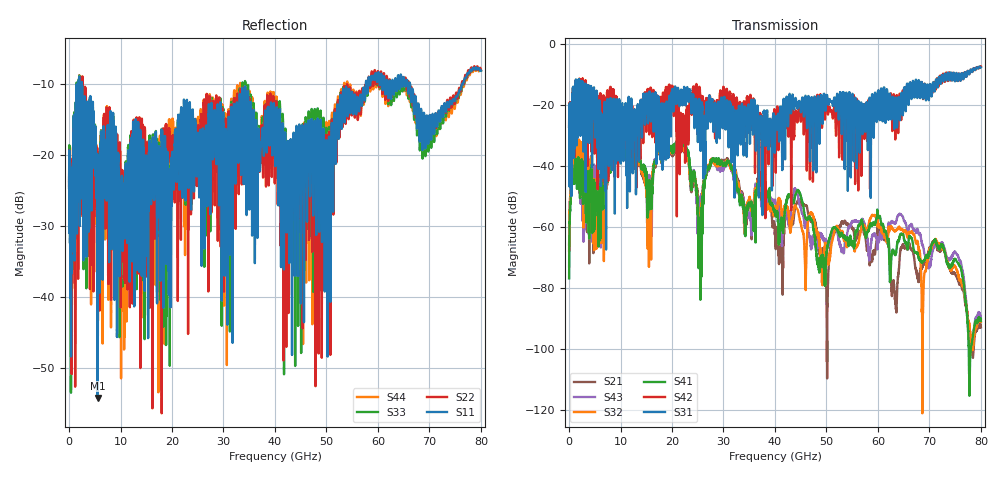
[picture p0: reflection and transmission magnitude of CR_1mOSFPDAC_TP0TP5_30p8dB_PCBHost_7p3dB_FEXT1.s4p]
!! Reference: shanbhag_3dj_01_2305.pdf
!! CHANNEL DESCRIPTION: TP0_TP5 CR Channel using 1meter DAC, PCB Host
!! MODEL DESCRIPTION: s4p, FEXT1
!! CONNECTOR DESCRIPTION: OSFP 200G SMT
!! CABLE DESCRIPTION: 1meter 26AWG Cable
!! MODEL STATUS: Developmental
!! PORT DEFINITIONS:
!! Port  1  ----->  Side A  Side B  <-----  Port  2
!! Port  3  ----->  Side A  Side B  <-----  Port  4
# HZ S MA R 50.000000
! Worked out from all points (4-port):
!   8000 points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, 10 MHz to 80 GHz, reference 50 ohm
!   strongest paths, dB at 10 MHz, 20.01 GHz, 40.01 GHz, 60.01 GHz, 80 GHz:
!     S31: -27.2, -15.2, -31.6, -15.6, -7.8
!     S42: -27.2, -13.8, -25.9, -16.2, -7.4
!     S41: -76.9, -35.5, -54.8, -57.0, -90.8
!     S32: -67.7, -35.9, -53.6, -58.7, -91.1
!     S43: -72.9, -35.8, -51.0, -64.8, -90.0
!     S21: -65.8, -36.6, -61.1, -63.0, -92.8
!   lowest |S11| = -54.2 dB at 5.55 GHz (marker M1), VSWR 1.00, Z = 50.1 + j0.187 ohm
!   |S11| at or under -10 dB: start of sweep to 1.479 GHz; 2.464 GHz to 57.63 GHz (55.16 GHz wide, 184 % of centre); 66.24 GHz to 76.31 GHz (10.07 GHz wide, 14.1 % of centre)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
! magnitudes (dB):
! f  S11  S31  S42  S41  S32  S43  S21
! 10 MHz  -24.5  -27.2  -27.2  -76.9  -67.7  -72.9  -65.8
! 1.49 GHz  -10.2  -12.9  -14.3  -39.9  -33.5  -36.4  -36.4
! 5.55 GHz  -54.2  -34.2  -26.5  -48.5  -51.1  -58.0  -44.8
! 22.23 GHz  -14.0  -15.9  -26.3  -33.0  -34.3  -33.6  -34.9
! 25.4 GHz  -18.8  -20.1  -14.8  -66.2  -66.9  -53.0  -59.2
! 30.97 GHz  -15.3  -30.6  -21.1  -38.7  -39.4  -39.1  -38.4
! 80 GHz  -8.0  -7.8  -7.4  -90.8  -91.1  -90.0  -92.8
